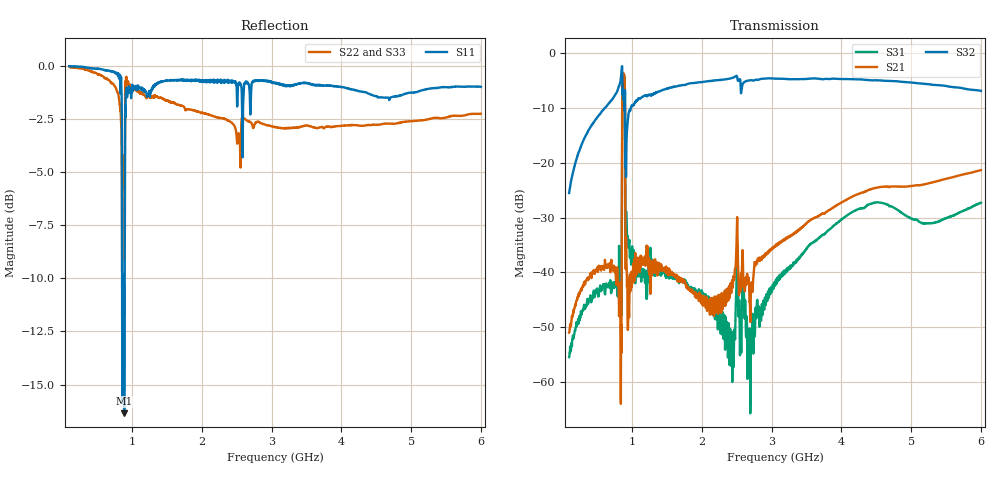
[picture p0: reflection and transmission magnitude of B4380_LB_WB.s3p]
! Matrix data file written by TouchstoneData, EPCOS AG
! FILENAME: "LY65A_X34Y34_F2_WB.s3p_newformat"
! COMMENT: "(LY65A_X34Y34_F2_WB.s3p) Epcos AG 12/3/2010"
! INFO: nport=3, nfreq=1601
! DATE: "Wed Jun 15 09:23:11 2011"
! USER: "Michael Schemies"
! port | pin | signal
!  1  |  4  |  in
!  2  |  6  |  out
!  3  |  7  |  out
# MHZ S MA R 50
! freq  magS11 angS11  magS12 angS12  magS13 angS13  ...
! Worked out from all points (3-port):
!   1601 points, 100 MHz to 6 GHz, reference 50 ohm
!   strongest paths, dB at 100 MHz, 1.575 GHz, 3.05 GHz, 4.525 GHz, 6 GHz:
!     S32: -25.5, -6.3, -4.7, -5.0, -6.9
!     S21: -51.0, -40.3, -35.1, -24.5, -21.4
!     S31: -55.4, -40.4, -42.3, -27.2, -27.3
!   lowest |S11| = -16.4 dB at 889.1 MHz (marker M1), VSWR 1.36, Z = 37.1 - j2.99 ohm
!   |S11| at or under -10 dB: 858.9 MHz to 881.5 MHz (22.58 MHz wide, 2.6 % of centre); 882.9 MHz to 896.4 MHz (13.54 MHz wide, 1.52 % of centre)
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100  0.997 -14.7  0.002834 80.2  0.00172 83.9
     0.002835 79.9  0.996 -4.9  0.05287 84.8
     0.001695 84.1  0.05287 85.0  0.9969 -4.8
549.875  0.9812 -73.9  0.01099 44.4  0.00705 49.5
         0.01098 44.4  0.9506 -25.5  0.2817 63.9
         0.007053 49.7  0.2814 64.1  0.952 -25.5
822.75  0.9396 -124.2  0.008053 99.9  0.01292 -7.9
        0.008036 99.8  0.8113 -45.0  0.5114 41.3
        0.01288 -7.7  0.5106 41.4  0.814 -44.3
889.125  0.1522 -165.0  0.6308 -31.0  0.6015 144.1
         0.6315 -31.0  0.5537 -20.3  0.4296 -5.8
         0.6007 144.2  0.4289 -5.7  0.587 -26.8
955.5  0.8936 -82.3  0.004747 20.3  0.01883 52.1
       0.004734 20.7  0.895 -31.6  0.2848 48.9
       0.0188 52.2  0.2846 49.0  0.9013 -31.5
2426.812  0.911 -150.6  0.007232 121.9  0.002912 74.9
          0.006919 121.9  0.7349 -74.4  0.5884 13.5
          0.002878 75.6  0.5879 13.6  0.7379 -72.9
2511.625  0.8322 -149.6  0.0235 63.8  0.01643 64.8
          0.02352 63.8  0.6569 -74.0  0.5807 3.6
          0.01645 65.1  0.5801 3.7  0.6311 -73.5
2681.25  0.8895 -156.7  0.006437 86.0  0.00228 108.2
         0.006418 85.7  0.7377 -76.6  0.5599 10.7
         0.002282 107.5  0.5588 10.8  0.7466 -74.5
3050  0.9086 -160.1  0.01753 129.7  0.007608 133.9
      0.01755 129.7  0.7171 -83.6  0.5823 4.1
      0.00763 133.7  0.5813 4.2  0.7223 -81.4
6000  0.8917 166.2  0.08531 97.7  0.04312 99.2
      0.08535 97.8  0.771 -134.2  0.4511 -37.5
      0.04307 99.3  0.4499 -37.4  0.7651 -126.3
